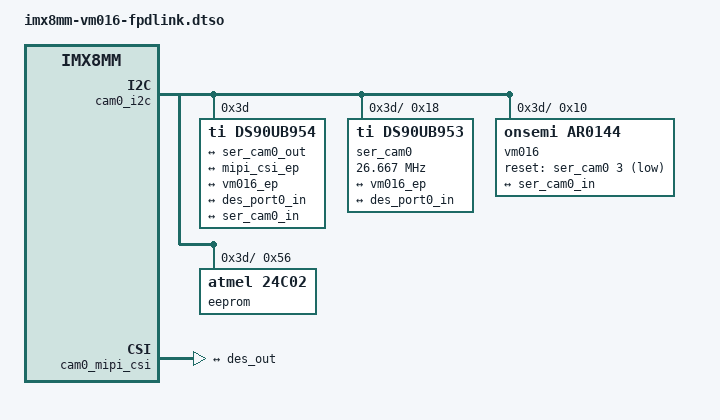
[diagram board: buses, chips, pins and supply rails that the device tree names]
// SPDX-License-Identifier: (GPL-2.0+ OR MIT)
/*
 * Copyright (C) 2021 PHYTEC Messtechnik GmbH
 * Author: Stefan Riedmueller <s.riedmueller@phytec.de>
 */

/dts-v1/;
/plugin/;

#include <dt-bindings/gpio/gpio.h>

/ {
	compatible = "phytec,imx8mm-phyboard-polis";

	fragment@2 {
		target-path= "/";

		__overlay__ {
			ser_clk: serializer-clk {
				#clock-cells = <0>;
				compatible = "fixed-clock";
				clock-frequency = <24000000>;
			};
		};
	};
};

&cam0_i2c {
	#address-cells = <1>;
	#size-cells = <0>;

	status = "okay";

	ds90ub954: deserializer@3d {
		compatible = "ti,ds90ub954";
		reg = <0x3d 0x70 0x71>;
		reg-names = "device_id", "rx0_id", "rx1_id";

		ports {
			#address-cells = <0x1>;
			#size-cells = <0x0>;
			port@0 {
				reg = <0>;

				ti,aeq-strobe-min = <7>;
				ti,aeq-strobe-max = <10>;
				ti,aeq-eq-min = <2>;
				ti,aeq-eq-max = <14>;

				des_port0_in: endpoint {
					remote-endpoint = <&ser_cam0_out>;
				};
			};

			port@2 {
				reg = <2>;
				des_out: endpoint {
					remote-endpoint = <&mipi_csi_ep>;
					link-frequencies = /bits/ 64 <
						400000000
					>;
					data-lanes = <1 2>;
				};
			};
		};

		i2c-mux {
			#address-cells = <0x1>;
			#size-cells = <0x0>;

			i2c_port0: i2c@0 {
				#address-cells = <0x1>;
				#size-cells = <0x0>;
				reg = <0>;
				clock-frequency = <400000>;
			};
		};
	};
};

&i2c_port0 {
	#address-cells = <1>;
	#size-cells = <0>;

	ser_cam0: serializer@18 {
		compatible = "ti,ds90ub953";
		reg = <0x18>;

		clocks = <&ser_clk>;
		clock-names = "refclk";

		#clock-cells = <0>;
		clock-output-names = "clkout_port0";
		clock-frequency = <26666666>;

		gpio-controller;
		#gpio-cells = <2>;

		ports {
			#address-cells = <0x1>;
			#size-cells = <0x0>;
			port@0 {
				reg = <0>;
				ser_cam0_in: endpoint {
					remote-endpoint = <&vm016_ep>;
					data-lanes = <1 2>;
				};
			};

			port@1 {
				reg = <1>;
				ser_cam0_out: endpoint {
					remote-endpoint = <&des_port0_in>;
				};
			};
		};
	};

	vm016: camera@10 {
		#address-cells = <0x1>;
		#size-cells = <0x0>;

		compatible = "onsemi,ar0144";
		reg = <0x10>;
		clocks = <&ser_cam0>;
		clock-names = "ext";

		reset-gpios = <&ser_cam0 3 GPIO_ACTIVE_LOW>;

		port@0 {
			reg = <0>;

			vm016_ep: endpoint {
				remote-endpoint = <&ser_cam0_in>;
				bus-type = <4>; /* MIPI CSI-2 D-PHY */
				link-frequencies = /bits/ 64 <222750000>;
				data-lanes = <1 2>;
				clock-lanes = <0>;
				clock-noncontinuous = <1>;
				onsemi,t-hs-prep = <1>;
				onsemi,t-clk-post = <9>;
			};
		};
	};

	eeprom@56 {
		compatible = "atmel,24c02";
		reg = <0x56>;
		pagesize = <16>;
	};
};

&cam0_mipi_csi {
	port@0 {
		mipi_csi_ep: endpoint {
			remote-endpoint = <&des_out>;
			data-lanes = <1 2>;
		};
	};
};
